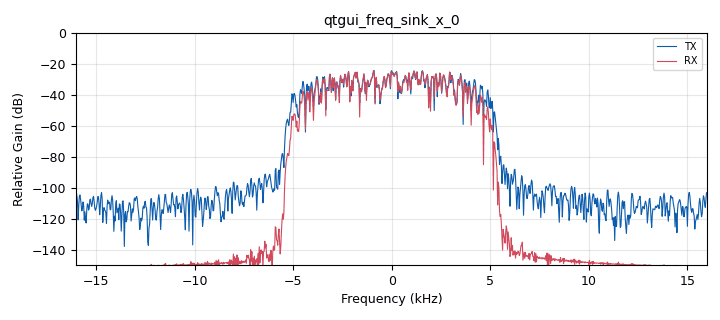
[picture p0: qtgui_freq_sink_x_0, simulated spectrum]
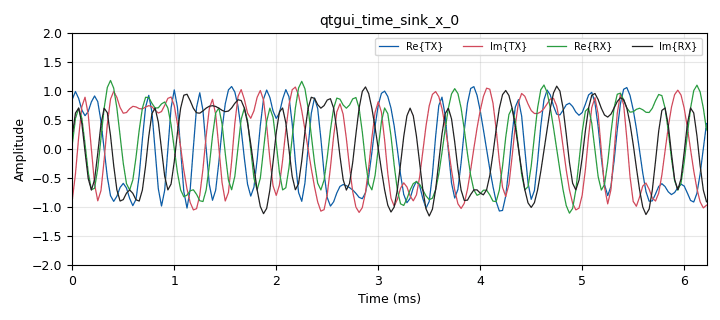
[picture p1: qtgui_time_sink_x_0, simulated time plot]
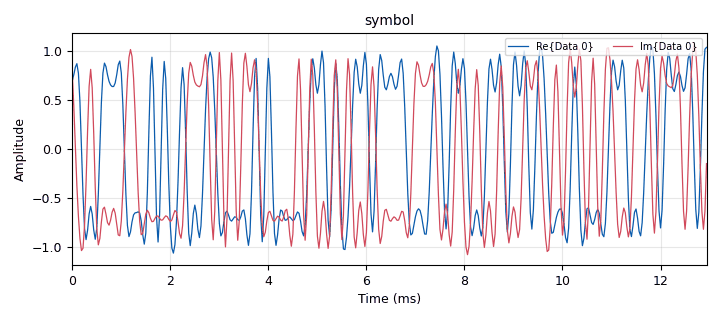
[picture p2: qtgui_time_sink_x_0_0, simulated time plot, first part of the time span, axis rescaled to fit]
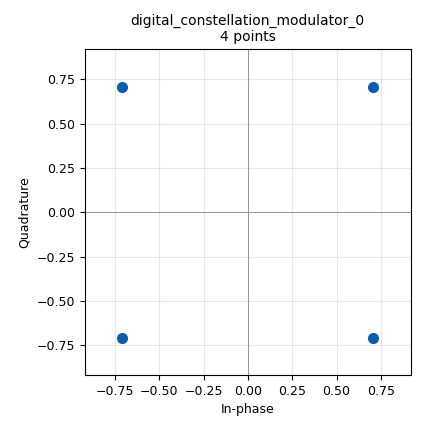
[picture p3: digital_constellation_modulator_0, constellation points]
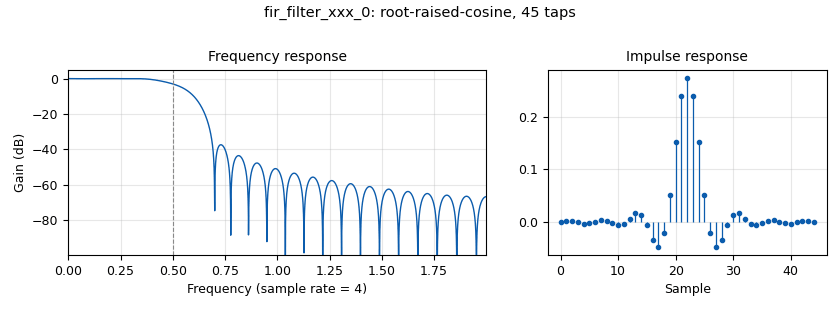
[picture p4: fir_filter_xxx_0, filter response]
options:
  parameters:
    category: Custom
    generate_options: qt_gui
    id: mpsk_stage1
    output_language: python
  states: {}

blocks:
- name: arity
  id: variable
  parameters:
    value: '4'
  states: {}
- name: excess_bw
  id: variable
  parameters:
    value: '0.35'
  states: {}
- name: qpsk
  id: variable_constellation_rect
  parameters:
    const_points: '[0.707+0.707j, -0.707+0.707j, -0.707-0.707j, 0.707-0.707j]'
    imag_sect: '2'
    real_sect: '2'
    rot_sym: '4'
    sym_map: '[0, 1, 2, 3]'
    w_imag_sect: '1'
    w_real_sect: '1'
  states: {}
- name: rrc_taps
  id: variable
  parameters:
    value: firdes.root_raised_cosine(1, sps, 1, excess_bw, 45)
  states: {}
- name: samp_rate
  id: variable
  parameters:
    value: '32000'
  states: {}
- name: sps
  id: variable
  parameters:
    value: '4'
  states: {}
- name: analog_random_source_x_0
  id: analog_random_source_x
  parameters:
    max: '255'
    min: '0'
    num_samps: '10000'
    repeat: 'True'
    type: byte
  states: {}
- name: blocks_throttle_0
  id: blocks_throttle
  parameters:
    samples_per_second: samp_rate
    type: complex
  states: {}
- name: digital_constellation_modulator_0
  id: digital_constellation_modulator
  parameters:
    constellation: qpsk
    differential: 'True'
    excess_bw: excess_bw
    samples_per_symbol: sps
  states: {}
- name: fir_filter_xxx_0
  id: fir_filter_xxx
  parameters:
    decim: '1'
    taps: rrc_taps
    type: ccc
  states: {}
- name: qtgui_const_sink_x_0
  id: qtgui_const_sink_x
  parameters:
    alpha1: '0.75'
    alpha2: '0.5'
    gui_hint: 0,1,1,1
    label1: TX
    label2: RX
    name: ''
    nconnections: '2'
    size: 1024*4
    type: complex
  states: {state: disabled}
- name: qtgui_const_sink_x_1
  id: qtgui_const_sink_x
  parameters:
    size: '10240'
    type: complex
  states: {}
- name: qtgui_freq_sink_x_0
  id: qtgui_freq_sink_x
  parameters:
    alpha1: '0.6'
    alpha2: '0.6'
    bw: samp_rate
    fc: '0'
    fftsize: '1024'
    gui_hint: 1,0,1,2
    label1: TX
    label2: RX
    name: ''
    nconnections: '2'
    showports: 'True'
    type: complex
    width1: '2'
    width2: '2'
    ymax: '0'
    ymin: '-150'
  states: {}
- name: qtgui_time_sink_x_0
  id: qtgui_time_sink_x
  parameters:
    alpha1: '0.5'
    alpha2: '0.5'
    alpha3: '0.5'
    alpha4: '0.5'
    gui_hint: 0,0,1,1
    label1: Re{TX}
    label2: Im{TX}
    label3: Re{RX}
    label4: Im{RX}
    name: ''
    nconnections: '2'
    size: '200'
    srate: samp_rate
    type: complex
    ymax: '2'
    ymin: '-2'
  states: {}
- name: qtgui_time_sink_x_0_0
  id: qtgui_time_sink_x
  parameters:
    name: '"symbol"'
    size: '40960'
    srate: samp_rate
    type: complex
  states: {}

connections:
- [analog_random_source_x_0, '0', digital_constellation_modulator_0, '0']
- [blocks_throttle_0, '0', fir_filter_xxx_0, '0']
- [blocks_throttle_0, '0', qtgui_const_sink_x_0, '0']
- [blocks_throttle_0, '0', qtgui_freq_sink_x_0, '0']
- [blocks_throttle_0, '0', qtgui_time_sink_x_0, '0']
- [digital_constellation_modulator_0, '0', blocks_throttle_0, '0']
- [digital_constellation_modulator_0, '0', qtgui_time_sink_x_0_0, '0']
- [fir_filter_xxx_0, '0', qtgui_const_sink_x_0, '1']
- [fir_filter_xxx_0, '0', qtgui_freq_sink_x_0, '1']
- [fir_filter_xxx_0, '0', qtgui_time_sink_x_0, '1']

metadata:
  file_format: 1
  grc_version: 3.10.6.0
